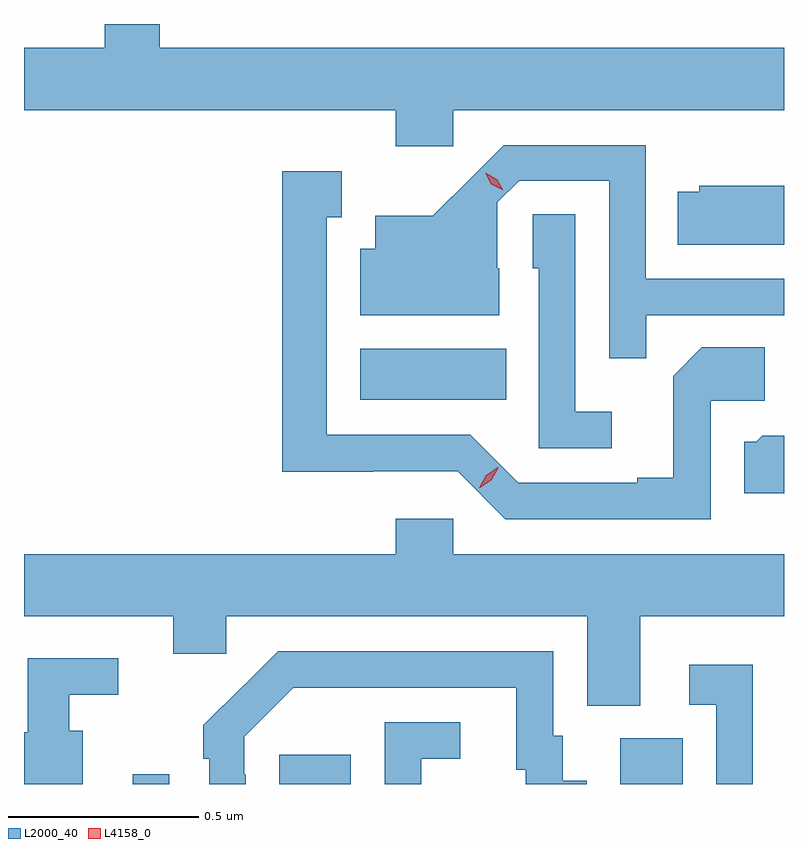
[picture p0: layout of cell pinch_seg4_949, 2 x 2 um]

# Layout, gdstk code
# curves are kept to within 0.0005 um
import gdstk
lib = gdstk.Library(unit=1e-6, precision=1e-09)
def R(c, l, rs):  # rectangles x0, y0, x1, y1
    for r in rs: c.add(gdstk.rectangle(r[:2], r[2:], *l))
def P(c, l, *ps):  # polygons
    for p in ps: c.add(gdstk.Polygon(p, *l))
L2000_40 = (2000, 40)
L4158_0 = (4158, 0)

pinch_seg4_949 = lib.new_cell('pinch_seg4_949')
R(pinch_seg4_949, L2000_40, [(658.917,797.711,659.013,797.737), (659.303,797.711,659.491,797.788), (660.2,797.711,660.364,797.832), (659.516,798.722,659.9,798.856)])
P(pinch_seg4_949, L2000_40, [(659.76,799.484),(660.631,799.484),(660.631,799.648),(658.988,799.648),(658.988,799.711),(658.844,799.711),(658.844,799.648),(658.631,799.648),(658.631,799.484),(659.609,799.484),(659.609,799.389),(659.76,799.389)],
  [(660.269,798.945),(660.631,798.945),(660.631,799.041),(660.267,799.041),(660.267,799.392),(659.894,799.392),(659.707,799.207),(659.555,799.207),(659.555,799.12),(659.516,799.12),(659.516,798.944),(659.881,798.944),(659.881,799.068),(659.877,799.068),(659.877,799.242),(659.934,799.299),(660.171,799.299),(660.171,798.832),(660.269,798.832)],
  [(660.438,798.72),(660.58,798.72),(660.58,798.86),(660.415,798.86),(660.339,798.784),(660.339,798.517),(660.245,798.517),(660.245,798.504),(659.931,798.504),(659.805,798.63),(659.428,798.63),(659.428,799.203),(659.467,799.203),(659.467,799.324),(659.31,799.324),(659.31,798.533),(659.55,798.533),(659.55,798.534),(659.772,798.534),(659.898,798.408),(660.438,798.408)],
  [(660.631,799.285),(660.408,799.285),(660.408,799.27),(660.352,799.27),(660.352,799.13),(660.631,799.13)],
  [(660.178,798.691),(660.081,798.691),(660.081,799.211),(659.97,799.211),(659.97,799.068),(659.985,799.068),(659.985,798.594),(660.178,798.594)],
  [(660.631,798.628),(660.574,798.628),(660.558,798.612),(660.527,798.612),(660.527,798.476),(660.631,798.476)],
  [(660.253,798.152),(660.631,798.152),(660.631,798.316),(659.76,798.316),(659.76,798.409),(659.609,798.409),(659.609,798.316),(658.631,798.316),(658.631,798.152),(659.024,798.152),(659.024,798.054),(659.163,798.054),(659.163,798.152),(660.113,798.152),(660.113,797.917),(660.253,797.917)],
  [(659.214,797.735),(659.211,797.735),(659.211,797.835),(659.34,797.964),(659.927,797.964),(659.927,797.748),(659.951,797.748),(659.951,797.711),(660.112,797.711),(660.112,797.719),(660.049,797.719),(660.049,797.838),(660.024,797.838),(660.024,798.06),(659.3,798.06),(659.209,797.969),(659.208,797.97),(659.103,797.865),(659.103,797.777),(659.118,797.777),(659.118,797.711),(659.214,797.711)],
  [(658.786,797.851),(658.75,797.851),(658.75,797.946),(658.879,797.946),(658.879,798.042),(658.641,798.042),(658.641,797.847),(658.631,797.847),(658.631,797.711),(658.786,797.711)],
  [(660.549,798.025),(660.381,798.025),(660.381,797.919),(660.453,797.919),(660.453,797.711),(660.549,797.711)],
  [(659.676,797.778),(659.779,797.778),(659.779,797.874),(659.58,797.874),(659.58,797.711),(659.676,797.711)])
P(pinch_seg4_949, L4158_0, [(659.892,799.273),(659.861,799.289),(659.845,799.319),(659.845,799.319),(659.845,799.319),(659.875,799.303),(659.892,799.274),(659.892,799.273)],
  [(659.829,798.491),(659.829,798.491),(659.847,798.524),(659.878,798.544),(659.879,798.544),(659.879,798.543),(659.861,798.51),(659.83,798.491)])

lib.write_gds('pinch_seg4_949.gds')
